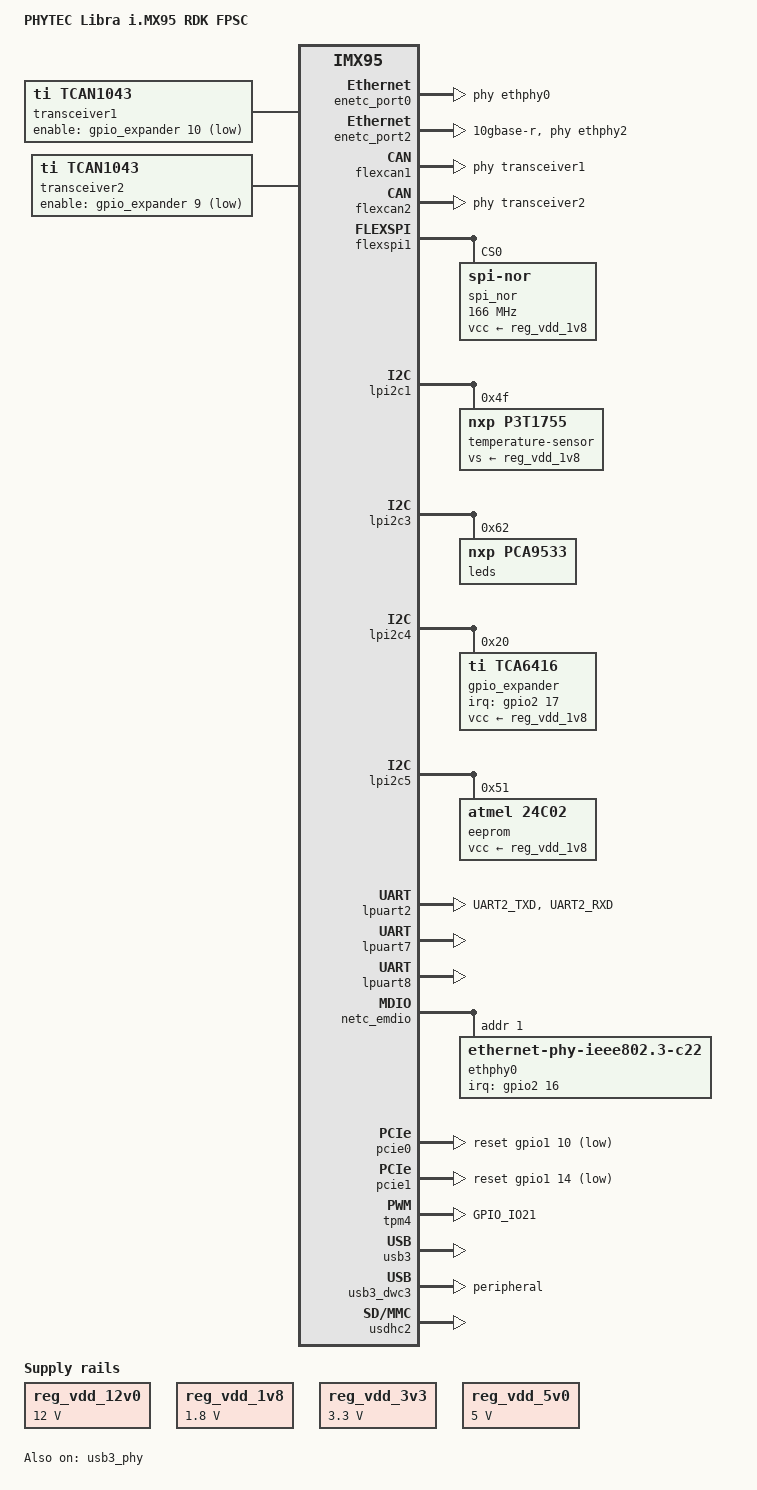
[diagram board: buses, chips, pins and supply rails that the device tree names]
// SPDX-License-Identifier: (GPL-2.0+ OR MIT)
/*
 * Copyright 2025 PHYTEC Messtechnik GmbH
 */

/dts-v1/;

#include <dt-bindings/leds/leds-pca9532.h>
#include <dt-bindings/pwm/pwm.h>

#include "imx95-phycore-fpsc.dtsi"

/ {
	compatible = "phytec,imx95-libra-rdk-fpsc",
		"phytec,imx95-phycore-fpsc", "fsl,imx95";
	model = "PHYTEC Libra i.MX95 RDK FPSC";

	aliases {
		can1 = &flexcan2;
		can2 = &flexcan1;
		ethernet0 = &enetc_port0;
		serial0 = &lpuart7;
		serial1 = &lpuart8;
	};

	chosen {
		stdout-path = &lpuart7;
	};

	backlight_lvds0: backlight0 {
		compatible = "pwm-backlight";
		pinctrl-0 = <&pinctrl_lvds0>;
		power-supply = <&reg_vdd_12v0>;
		status = "disabled";
	};

	transceiver1: can-phy {
		compatible = "ti,tcan1043";
		#phy-cells = <0>;
		max-bitrate = <8000000>;
		enable-gpios = <&gpio_expander 10 GPIO_ACTIVE_LOW>;
	};

	transceiver2: can-phy {
		compatible = "ti,tcan1043";
		#phy-cells = <0>;
		max-bitrate = <8000000>;
		enable-gpios = <&gpio_expander 9 GPIO_ACTIVE_LOW>;
	};

	panel0_lvds: panel-lvds0 {
		backlight = <&backlight_lvds0>;
		power-supply = <&reg_vdd_3v3>;
		status = "disabled";
	};

	reg_vdd_12v0: regulator-vdd-12v0 {
		compatible = "regulator-fixed";
		regulator-always-on;
		regulator-boot-on;
		regulator-max-microvolt = <12000000>;
		regulator-min-microvolt = <12000000>;
		regulator-name = "VDD_12V0";
	};

	reg_vdd_1v8: regulator-vdd-1v8 {
		compatible = "regulator-fixed";
		regulator-always-on;
		regulator-boot-on;
		regulator-max-microvolt = <1800000>;
		regulator-min-microvolt = <1800000>;
		regulator-name = "VDD_1V8";
	};

	reg_vdd_3v3: regulator-vdd-3v3 {
		compatible = "regulator-fixed";
		regulator-always-on;
		regulator-boot-on;
		regulator-max-microvolt = <3300000>;
		regulator-min-microvolt = <3300000>;
		regulator-name = "VDD_3V3";
	};

	reg_vdd_5v0: regulator-vdd-5v0 {
		compatible = "regulator-fixed";
		regulator-always-on;
		regulator-boot-on;
		regulator-max-microvolt = <5000000>;
		regulator-min-microvolt = <5000000>;
		regulator-name = "VDD_5V0";
	};
};

&enetc_port0 {
	phy-handle = <&ethphy0>;
	status = "okay";
};

&enetc_port2 {
	managed = "in-band-status";
	phy-handle = <&ethphy2>;
	phy-mode = "10gbase-r";
};

/* CAN FD */
&flexcan1 {
	phys = <&transceiver1>;
	status = "okay";
};

&flexcan2 {
	phys = <&transceiver2>;
	status = "okay";
};

/* SPI-NOR */
&flexspi1 {
	pinctrl-0 = <&pinctrl_flexspi>;
	pinctrl-names = "default";
	status = "okay";

	spi_nor: flash@0 {
		compatible = "jedec,spi-nor";
		reg = <0>;
		spi-max-frequency = <166000000>;
		spi-rx-bus-width = <4>;
		spi-tx-bus-width = <4>;
		vcc-supply = <&reg_vdd_1v8>;
	};
};

&gpio2 {
	gpio-line-names = "", "", "", "", "",
			  "", "", "", "", "",
			  "", "", "", "", "",
			  "", "RGMII2_nINT", "GPIO4", "RTC_INT", "",
			  "LVDS1_BL_EN";
};

&lpi2c1 {
	temperature-sensor@4f {
		compatible = "nxp,p3t1755";
		reg = <0x4f>;
		vs-supply = <&reg_vdd_1v8>;
	};
};

&lpi2c3 {
	status = "okay";

	leds@62 {
		compatible = "nxp,pca9533";
		reg = <0x62>;

		led-1 {
			type = <PCA9532_TYPE_LED>;
		};

		led-2 {
			type = <PCA9532_TYPE_LED>;
		};

		led-3 {
			type = <PCA9532_TYPE_LED>;
		};
	};
};

&lpi2c4 {
	status = "okay";

	gpio_expander: gpio@20 {
		compatible = "ti,tca6416";
		reg = <0x20>;
		interrupt-parent = <&gpio2>;
		interrupts = <17 IRQ_TYPE_LEVEL_LOW>;
		#gpio-cells = <2>;
		gpio-controller;
		gpio-line-names = "CSI1_CTRL1", "CSI1_CTRL2", "CSI1_CTRL3",
				  "CSI1_CTRL4", "CSI2_CTRL1", "CSI2_CTRL2",
				  "CSI2_CTRL3", "CSI2_CTRL4", "CLK_EN_AV",
				  "nCAN2_EN", "nCAN1_EN", "PCIE1_nWAKE",
				  "PCIE2_nWAKE", "PCIE2_nALERT_3V3",
				  "UART1_BT_RS_SEL", "UART1_RS232_485_SEL";
		vcc-supply = <&reg_vdd_1v8>;

		uart1_bt_rs_sel: bt-rs-hog {
			gpios = <14 GPIO_ACTIVE_HIGH>;
			gpio-hog;
			line-name = "UART1_BT_RS_SEL";
			output-low;
		};
	};
};

&lpi2c5 {
	status = "okay";

	eeprom@51 {
		compatible = "atmel,24c02";
		reg = <0x51>;
		pagesize = <16>;
		vcc-supply = <&reg_vdd_1v8>;
	};
};

/* Used for M33 debug */
&lpuart2 {
	pinctrl-0 = <&pinctrl_lpuart2>;
	pinctrl-names = "default";
};

/* A-55 debug UART */
&lpuart7 {
	status = "okay";
};

/* RS232/RS485/BT */
&lpuart8 {
	uart-has-rtscts;
	status = "okay";
};

&netc_emdio { /* RGMII2 */
	ethphy0: ethernet-phy@1 {
		compatible = "ethernet-phy-ieee802.3-c22";
		reg = <0x1>;
		interrupt-parent = <&gpio2>;
		interrupts = <16 IRQ_TYPE_LEVEL_LOW>;
		enet-phy-lane-no-swap;
		ti,clk-output-sel = <DP83867_CLK_O_SEL_OFF>;
		ti,fifo-depth = <DP83867_PHYCR_FIFO_DEPTH_4_B_NIB>;
		ti,rx-internal-delay = <DP83867_RGMIIDCTL_1_50_NS>;
		ti,tx-internal-delay = <DP83867_RGMIIDCTL_2_00_NS>;
	};

	ethphy2: ethernet-phy@8 {
		compatible = "ethernet-phy-ieee802.3-c45";
		reg = <0x8>;
		max-speed = <10000>; /* 10Gbit/s */
		status = "disabled";
	};
};

&pcie0 {
	reset-gpio = <&gpio1 10 GPIO_ACTIVE_LOW>;
	vpcie-supply = <&reg_vdd_3v3>;
	status = "okay";
};

&pcie1 {
	reset-gpio = <&gpio1 14 GPIO_ACTIVE_LOW>;
	vpcie-supply = <&reg_vdd_3v3>;
	status = "okay";
};

&rv3028 {
	pinctrl-names = "default";
	pinctrl-0 = <&pinctrl_rtc>;
	interrupt-parent = <&gpio2>;
	interrupts = <18 IRQ_TYPE_LEVEL_LOW>;
	aux-voltage-chargeable = <1>;
	wakeup-source;
	trickle-resistor-ohms = <3000>;
};

&scmi_iomuxc {
	pinctrl_lpuart2: lpuart2grp { /* FPSC proprietary */
		fsl,pins = <
			IMX95_PAD_UART2_TXD__AONMIX_TOP_LPUART2_TX	0x31e
			IMX95_PAD_UART2_RXD__AONMIX_TOP_LPUART2_RX	0x31e
		>;
	};

	pinctrl_lvds0: lvds0grp {
		fsl,pins = <
			IMX95_PAD_GPIO_IO20__GPIO2_IO_BIT20	0x31e
		>;
	};

	pinctrl_rtc: rtcgrp {
		fsl,pins = <
			IMX95_PAD_GPIO_IO18__GPIO2_IO_BIT18	0x31e
		>;
	};

	pinctrl_tpm4: tpm4grp {
		fsl,pins = <
			IMX95_PAD_GPIO_IO21__TPM4_CH1	0x51e
		>;
	};
};

&tpm4 {
	pinctrl-0 = <&pinctrl_tpm4>;
	pinctrl-names = "default";
};

&usb3 {
	fsl,over-current-active-low;
	fsl,power-active-low;
	status = "okay";
};

&usb3_dwc3 {
	dr_mode = "peripheral";
	status = "okay";
};

&usb3_phy {
	vbus-supply = <&reg_vdd_5v0>;
	status = "okay";
};

/* uSD Card */
&usdhc2 {
	status = "okay";
};
